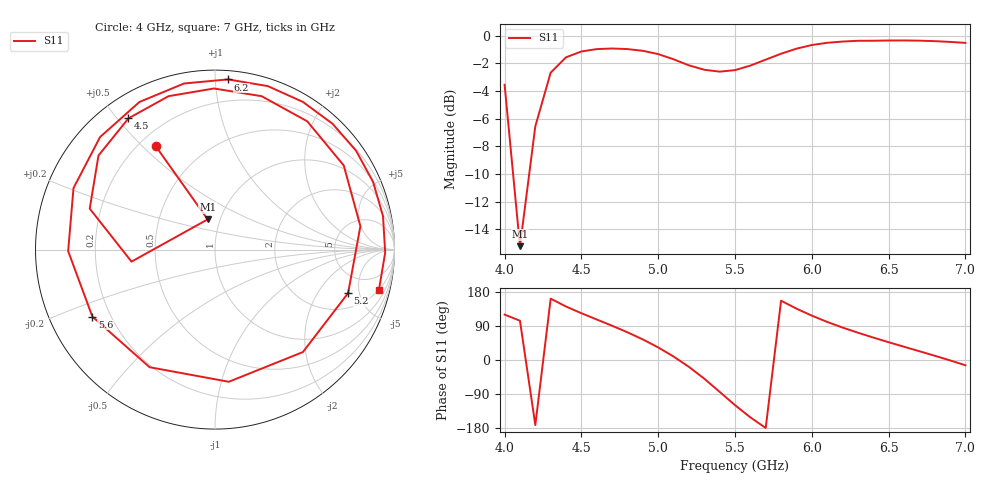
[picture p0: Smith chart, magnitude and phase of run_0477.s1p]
! Touchstone file exported from HFSS 2024.2.0
!  File:  C:/Users/wsak9/Desktop/Sim Fast/Widenad Patch/WP_AI_V1_sweep.aedt
!  Generated:  11:53:56 AM Oct 14, 2026
!  Design:  A1_model
!  Project:  WP_AI_V1_sweep
!  Setup:  Setup1
!  Solution:  Sweep
! Variables:
!  Air_gap = 2.65mm
!  Curve_Amp1 = 2.48
!  Curve_len1 = 1
!  Curve_pos = 13.29mm
!  Extra = 0.65mm
!  H_sub = 0.79mm
!  L_Patch = 22.58mm
!  L_Patch1 = 16.67mm
!  Sx = 0.93mm
!  Sy = 4.56mm
!  WS = 0.65mm
!  W_Patch = 15.98mm
!  W_Patch1 = 16.02mm
!Data is not renormalized
# GHz S MA
! Terminal data exported
! Port[1] = 1
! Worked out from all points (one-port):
!   31 points, 4 GHz to 7 GHz, reference per port
!   lowest |S11| = -15.2 dB at 4.1 GHz (marker M1), VSWR 1.42
!   |S11| at or under -10 dB: 4.055 GHz to 4.16 GHz (105.1 MHz wide, 2.56 % of centre)
!   S11 on the Smith chart (normalised r, x): 4 GHz: 0.27, +0.55; 4.5 GHz: 0.09, +0.54; 5.2 GHz: 3.12, -3.86; 5.6 GHz: 0.13, -0.25; 6.2 GHz: 0.05, +1.08; 7 GHz: 1.98, -7.73
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4  0.664 119.8
4.1  0.1732 103.7
4.2  0.47 -171.8
4.3  0.7344 161.9
4.4  0.8343 141.1
4.5  0.8758 123.4
4.6  0.8932 106.9
4.7  0.8977 90.3
4.8  0.8933 73.1
4.9  0.8804 54.3
5  0.8569 33.2
5.1  0.8205 9.1
5.2  0.7803 -18.1
5.3  0.7521 -49.4
5.4  0.7404 -84.0
5.5  0.7497 -119.1
5.6  0.7786 -151.3
5.7  0.8182 -179.4
5.8  0.8596 156.5
5.9  0.8963 135.6
6  0.924 117.1
6.1  0.9413 100.5
6.2  0.951 85.6
6.3  0.9572 72.1
6.5  0.9595 47.0
6.7  0.9582 23.2
6.9  0.9484 -1.0
7  0.9406 -13.9
